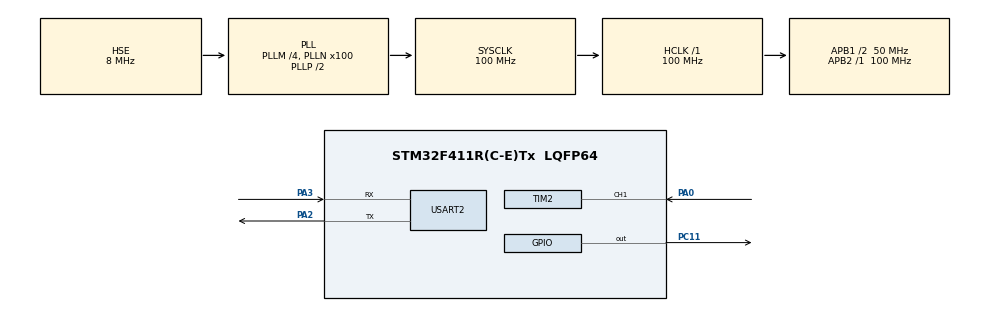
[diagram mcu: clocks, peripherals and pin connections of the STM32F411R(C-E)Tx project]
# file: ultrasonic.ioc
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Mcu.Family=STM32F4
Mcu.Name=STM32F411R(C-E)Tx
Mcu.Package=LQFP64
NVIC.PriorityGroup=NVIC_PRIORITYGROUP_4
NVIC.TIM1_TRG_COM_TIM11_IRQn=true\:0\:0\:false\:false\:true\:true\:true\:true
NVIC.TIM2_IRQn=true\:0\:0\:false\:false\:true\:true\:true\:true
NVIC.USART2_IRQn=true\:0\:0\:false\:false\:true\:true\:true\:true
PA0-WKUP.Signal=S_TIM2_CH1_ETR
PA13.Mode=Serial_Wire
PA13.Signal=SYS_JTMS-SWDIO
PA14.Mode=Serial_Wire
PA14.Signal=SYS_JTCK-SWCLK
PA2.Mode=Asynchronous
PA2.Signal=USART2_TX
PA3.Mode=Asynchronous
PA3.Signal=USART2_RX
PC11.GPIO_Speed=GPIO_SPEED_FREQ_VERY_HIGH
PC11.PinState=GPIO_PIN_RESET
PC11.Signal=GPIO_Output
PH0\ -\ OSC_IN.Mode=HSE-External-Oscillator
PH0\ -\ OSC_IN.Signal=RCC_OSC_IN
PH1\ -\ OSC_OUT.Mode=HSE-External-Oscillator
PH1\ -\ OSC_OUT.Signal=RCC_OSC_OUT
ProjectManager.HeapSize=0x200
ProjectManager.StackSize=0x400
ProjectManager.TargetToolchain=STM32CubeIDE
RCC.48MHZClocksFreq_Value=50000000
RCC.AHBFreq_Value=100000000
RCC.APB1CLKDivider=RCC_HCLK_DIV2
RCC.APB1Freq_Value=50000000
RCC.APB1TimFreq_Value=100000000
RCC.APB2Freq_Value=100000000
RCC.APB2TimFreq_Value=100000000
RCC.CortexFreq_Value=100000000
RCC.HCLKFreq_Value=100000000
RCC.HSE_VALUE=8000000
RCC.HSI_VALUE=16000000
RCC.LSE_VALUE=32768
RCC.PLLM=4
RCC.PLLN=100
RCC.PLLSourceVirtual=RCC_PLLSOURCE_HSE
RCC.SYSCLKFreq_VALUE=100000000
RCC.SYSCLKSource=RCC_SYSCLKSOURCE_PLLCLK
RCC.VCOOutputFreq_Value=200000000
SH.S_TIM2_CH1_ETR.0=TIM2_CH1,Input_Capture1_from_TI1
TIM11.Prescaler=100-1
TIM2.Channel-Input_Capture1_from_TI1=TIM_CHANNEL_1
TIM2.Prescaler=100-1
USART2.VirtualMode=VM_ASYNC
VP_TIM11_VS_ClockSourceINT.Mode=Enable_Timer
VP_TIM2_VS_ClockSourceINT.Mode=Internal
board=custom

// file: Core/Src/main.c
/* USER CODE BEGIN Header */
/**
  ******************************************************************************
  * @file           : main.c
  * @brief          : Main program body
  ******************************************************************************
  * @attention
  *
  * Copyright (c) 2024 STMicroelectronics.
  * All rights reserved.
  *
  * This software is licensed under terms that can be found in the LICENSE file
  * in the root directory of this software component.
  * If no LICENSE file comes with this software, it is provided AS-IS.
  *
  ******************************************************************************
  */
/* USER CODE END Header */
#include "main.h"
#include "tim.h"
#include "usart.h"
#include "gpio.h"
#include <stdio.h>  //printf용

/* USER CODE BEGIN Includes */

#include "delay_us.h"

/* USER CODE END Includes */

/* USER CODE BEGIN PTD */

#define TRIG_PORT GPIOC
#define TRIG_PIN  GPIO_PIN_11

/* USER CODE END PTD */

/* USER CODE BEGIN PM */
int _write(int file, unsigned char* p, int len)
{
    HAL_StatusTypeDef status = HAL_UART_Transmit(&huart2, p, len, 100);
    return (status == HAL_OK ? len : 0);
}

/* USER CODE END PM */

/* USER CODE BEGIN PV */

uint32_t IC_Value1 = 0;
uint32_t IC_Value2 = 0;
uint32_t echoTime = 0;
uint16_t captureFlag = 0;
uint16_t distance = 0;

/* USER CODE END PV */

void SystemClock_Config(void);
/* USER CODE BEGIN PFP */

void HAL_TIM_IC_CaptureCallback(TIM_HandleTypeDef *htim)
{
  if(htim->Channel == HAL_TIM_ACTIVE_CHANNEL_1)
  {
    if(captureFlag ==0)
    {
      IC_Value1 = HAL_TIM_ReadCapturedValue(htim, TIM_CHANNEL_1);
      captureFlag=1;
      __HAL_TIM_SET_CAPTUREPOLARITY(htim, TIM_CHANNEL_1, TIM_INPUTCHANNELPOLARITY_FALLING);
    }
    else if(captureFlag==1)
    {
      IC_Value2 = HAL_TIM_ReadCapturedValue(htim, TIM_CHANNEL_1);
      __HAL_TIM_SET_COUNTER(&htim2,0);

      if(IC_Value2 > IC_Value1)
      {
        echoTime = IC_Value2 - IC_Value1;
      }
      else if(IC_Value1 > IC_Value2)
      {
        echoTime = (0xffffffff - IC_Value1) + IC_Value2;
      }
      distance = echoTime / 58;
      captureFlag = 0;
      __HAL_TIM_SET_CAPTUREPOLARITY(htim, TIM_CHANNEL_1, TIM_INPUTCHANNELPOLARITY_RISING);
      __HAL_TIM_DISABLE_IT(&htim2, TIM_IT_CC1);

    }
  }
}

void HCS_SR04(void)
{
  HAL_GPIO_WritePin(TRIG_PORT, TRIG_PIN, GPIO_PIN_SET);
  delay_us(10);
  HAL_GPIO_WritePin(TRIG_PORT, TRIG_PIN, GPIO_PIN_RESET);

  __HAL_TIM_ENABLE_IT(&htim2, TIM_IT_CC1);

}

/* USER CODE END PFP */

int main(void)
{

  /* MCU Configuration--------------------------------------------------------*/

  /* Reset of all peripherals, Initializes the Flash interface and the Systick. */
  HAL_Init();

  /* Configure the system clock */
  SystemClock_Config();

  /* Initialize all configured peripherals */
  MX_GPIO_Init();
  MX_TIM2_Init();
  MX_TIM11_Init();
  MX_USART2_UART_Init();
  /* USER CODE BEGIN 2 */
  HAL_TIM_Base_Start(&htim11);
  HAL_TIM_Base_Start(&htim2);
  HAL_TIM_IC_Start_IT(&htim2, TIM_CHANNEL_1);
  /* USER CODE END 2 */

  /* Infinite loop */
  while (1)
  {

    /* USER CODE BEGIN 3 */
    HCS_SR04();
    printf("%d cm\r\n", distance);
    HAL_Delay(500);

  }
  /* USER CODE END 3 */
}

void SystemClock_Config(void)
{
  RCC_OscInitTypeDef RCC_OscInitStruct = {0};
  RCC_ClkInitTypeDef RCC_ClkInitStruct = {0};

  /** Configure the main internal regulator output voltage
  */
  __HAL_RCC_PWR_CLK_ENABLE();
  __HAL_PWR_VOLTAGESCALING_CONFIG(PWR_REGULATOR_VOLTAGE_SCALE1);

  /** Initializes the RCC Oscillators according to the specified parameters
  * in the RCC_OscInitTypeDef structure.
  */
  RCC_OscInitStruct.OscillatorType = RCC_OSCILLATORTYPE_HSE;
  RCC_OscInitStruct.HSEState = RCC_HSE_ON;
  RCC_OscInitStruct.PLL.PLLState = RCC_PLL_ON;
  RCC_OscInitStruct.PLL.PLLSource = RCC_PLLSOURCE_HSE;
  RCC_OscInitStruct.PLL.PLLM = 4;
  RCC_OscInitStruct.PLL.PLLN = 100;
  RCC_OscInitStruct.PLL.PLLP = RCC_PLLP_DIV2;
  RCC_OscInitStruct.PLL.PLLQ = 4;
  if (HAL_RCC_OscConfig(&RCC_OscInitStruct) != HAL_OK)
  {
    Error_Handler();
  }

  /** Initializes the CPU, AHB and APB buses clocks
  */
  RCC_ClkInitStruct.ClockType = RCC_CLOCKTYPE_HCLK|RCC_CLOCKTYPE_SYSCLK
                              |RCC_CLOCKTYPE_PCLK1|RCC_CLOCKTYPE_PCLK2;
  RCC_ClkInitStruct.SYSCLKSource = RCC_SYSCLKSOURCE_PLLCLK;
  RCC_ClkInitStruct.AHBCLKDivider = RCC_SYSCLK_DIV1;
  RCC_ClkInitStruct.APB1CLKDivider = RCC_HCLK_DIV2;
  RCC_ClkInitStruct.APB2CLKDivider = RCC_HCLK_DIV1;

  if (HAL_RCC_ClockConfig(&RCC_ClkInitStruct, FLASH_LATENCY_3) != HAL_OK)
  {
    Error_Handler();
  }
}

void Error_Handler(void)
{
  __disable_irq();
  while (1)
  {
  }
}
